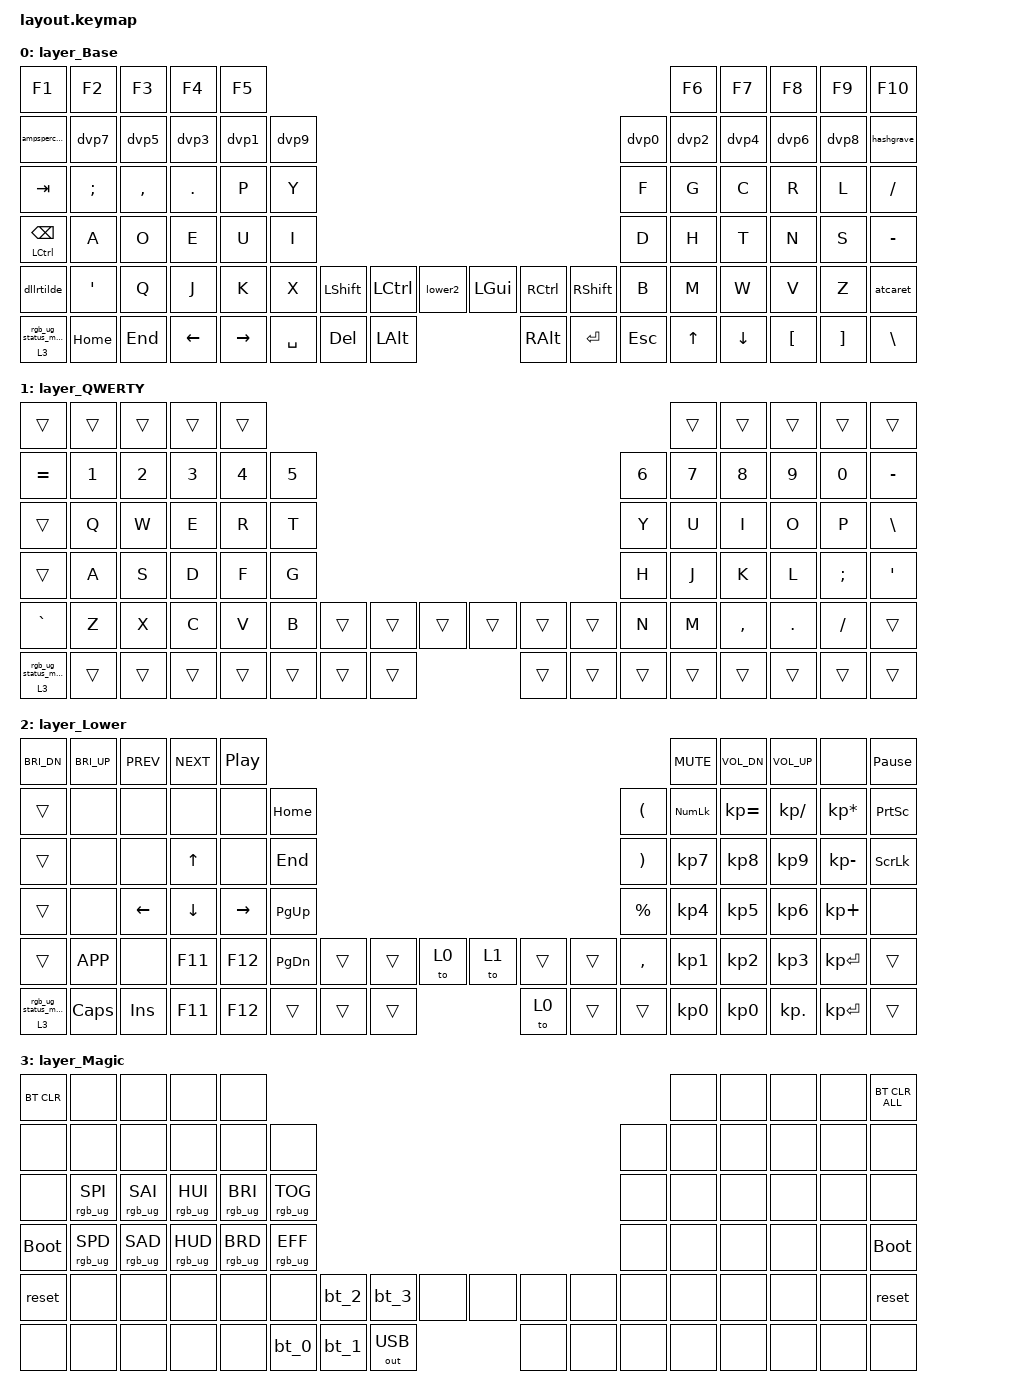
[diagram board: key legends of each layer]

/*
 * Copyright (c) 2020 The ZMK Contributors
 * Copyright (c) 2022 Innaworks Development Limited, trading as MoErgo
 *
 * SPDX-License-Identifier: MIT
 */


/* THIS FILE WAS GENERATED BY GLOVE80 LAYOUT EDITOR
 *
 * This file was generated automatically. You may or may not want to
 * edit it directly.
 */

#include <behaviors.dtsi>
/* Include all behaviour includes needed by system behaviors/macros */
#include <dt-bindings/zmk/outputs.h>

/* Include behaviour includes needed by key binds - automatically generated */
#include <dt-bindings/zmk/keys.h>
#include <dt-bindings/zmk/bt.h>
#include <dt-bindings/zmk/rgb.h>
#include <dt-bindings/zmk/outputs.h>


/ {
    /* Glove80 system behavior & macros */
    behaviors {
        // For the "layer" key, it'd nice to be able to use it as either a shift or a toggle.
        // Configure it as a tap dance, so the first tap (or hold) is a &mo and the second tap is a &to
        lower: tap_dance_0 {
            compatible = "zmk,behavior-tap-dance";
            label = "LAYER_TAP_DANCE";
            #binding-cells = <0>;
            tapping-term-ms = <200>;
            bindings = <&mo 1>, <&to 1>;
        };
    };
};

/ {
    macros {
        rgb_ug_status_macro: rgb_ug_status_macro_0 {
            label = "RGB_UG_STATUS";
            compatible = "zmk,behavior-macro";
            #binding-cells = <0>;
            bindings
                = <&rgb_ug RGB_STATUS>;
        };

        bt_0: bt_profile_macro_0 {
            label = "BT_0";
            compatible = "zmk,behavior-macro";
            #binding-cells = <0>;
            bindings
                = <&out OUT_BLE>,
                  <&bt BT_SEL 0>;
        };

        bt_1: bt_profile_macro_1 {
            label = "BT_1";
            compatible = "zmk,behavior-macro";
            #binding-cells = <0>;
            bindings
                = <&out OUT_BLE>,
                  <&bt BT_SEL 1>;
        };

        bt_2: bt_profile_macro_2 {
            label = "BT_2";
            compatible = "zmk,behavior-macro";
            #binding-cells = <0>;
            bindings
                = <&out OUT_BLE>,
                  <&bt BT_SEL 2>;
        };

        bt_3: bt_profile_macro_3 {
            label = "BT_3";
            compatible = "zmk,behavior-macro";
            #binding-cells = <0>;
            bindings
                = <&out OUT_BLE>,
                  <&bt BT_SEL 3>;
        };
    };
};

/ {
    magic: magic_hold_tap {
        compatible = "zmk,behavior-hold-tap";
        label = "MAGIC_HOLD_TAP";
        #binding-cells = <2>;
        flavor = "tap-preferred";
        tapping-term-ms = <200>;
        bindings = <&mo>, <&rgb_ug_status_macro>;
    };
};

    /* Custom Defined Behaviors */
/ {
    behaviors {
    // lower as 2nd layer
    lower2: tap_dance_1 {
        compatible = "zmk,behavior-tap-dance";
        label = "LAYER_TAP_DANCE";
        #binding-cells = <0>;
        tapping-term-ms = <200>;
        bindings = <&mo 2>, <&to 2>;
    };

    hashgrave: dvp_hash_grave {
        compatible = "zmk,behavior-mod-morph";
        label = "DVP_HASH_GRAVE";
        #binding-cells = <0>;
        bindings = <&kp HASH>, <&kp GRAVE>;
        mods = <(MOD_LGUI|MOD_LSFT|MOD_RGUI|MOD_RSFT)>;
    };

    atcaret: dvp_at_caret {
        compatible = "zmk,behavior-mod-morph";
        label = "DVP_AT_CARET";
        #binding-cells = <0>;
        bindings = <&kp AT>, <&kp CARET>;
        mods = <(MOD_LGUI|MOD_LSFT|MOD_RGUI|MOD_RSFT)>;
    };

    ampspercent: dvp_ampersand_percent {
        compatible = "zmk,behavior-mod-morph";
        label = "DVP_AMPERSAND_PERCENT";
        #binding-cells = <0>;
        bindings = <&kp AMPS>, <&kp PERCENT>;
        mods = <(MOD_LGUI|MOD_LSFT|MOD_RGUI|MOD_RSFT)>;
    };

    dllrtilde: dvp_dollar_tilde {
        compatible = "zmk,behavior-mod-morph";
        label = "DVP_DOLLAR_TILDE";
        #binding-cells = <0>;
        bindings = <&kp DLLR>, <&kp TILDE>;
        mods = <(MOD_LGUI|MOD_LSFT|MOD_RGUI|MOD_RSFT)>;
    };

    dvp7: dvp_lbkt_n7 {
        compatible = "zmk,behavior-mod-morph";
        label = "DVP_LBKT_N7";
        #binding-cells = <0>;
        bindings = <&kp LBKT>, <&kp N7>;
        mods = <(MOD_LGUI|MOD_LSFT|MOD_RGUI|MOD_RSFT)>;
    };

    dvp5: dvp_lbrc_n5 {
        compatible = "zmk,behavior-mod-morph";
        label = "DVP_LBRC_N5";
        #binding-cells = <0>;
        bindings = <&kp LBRC>, <&kp N5>;
        mods = <(MOD_LGUI|MOD_LSFT|MOD_RGUI|MOD_RSFT)>;
    };

    dvp3: dvp_rbrc_n3 {
        compatible = "zmk,behavior-mod-morph";
        label = "DVP_RBRC_N3";
        #binding-cells = <0>;
        bindings = <&kp RBRC>, <&kp N3>;
        mods = <(MOD_LGUI|MOD_LSFT|MOD_RGUI|MOD_RSFT)>;
    };

    dvp1: dvp_lpar_n1 {
        compatible = "zmk,behavior-mod-morph";
        label = "DVP_LPAR_N1";
        #binding-cells = <0>;
        bindings = <&kp LPAR>, <&kp N1>;
        mods = <(MOD_LGUI|MOD_LSFT|MOD_RGUI|MOD_RSFT)>;
    };

    dvp9: dvp_equal_n9 {
        compatible = "zmk,behavior-mod-morph";
        label = "DVP_EQUAL_N9";
        #binding-cells = <0>;
        bindings = <&kp EQUAL>, <&kp N9>;
        mods = <(MOD_LGUI|MOD_LSFT|MOD_RGUI|MOD_RSFT)>;
    };

    dvp0: dvp_star_n0 {
        compatible = "zmk,behavior-mod-morph";
        label = "DVP_STAR_N0";
        #binding-cells = <0>;
        bindings = <&kp STAR>, <&kp N0>;
        mods = <(MOD_LGUI|MOD_LSFT|MOD_RGUI|MOD_RSFT)>;
    };

    dvp2: dvp_rpar_n2 {
        compatible = "zmk,behavior-mod-morph";
        label = "DVP_RPAR_N2";
        #binding-cells = <0>;
        bindings = <&kp RPAR>, <&kp N2>;
        mods = <(MOD_LGUI|MOD_LSFT|MOD_RGUI|MOD_RSFT)>;
    };

    dvp4: dvp_plus_n4 {
        compatible = "zmk,behavior-mod-morph";
        label = "DVP_PLUS_N4";
        #binding-cells = <0>;
        bindings = <&kp PLUS>, <&kp N4>;
        mods = <(MOD_LGUI|MOD_LSFT|MOD_RGUI|MOD_RSFT)>;
    };

    dvp6: dvp_rbkt_n6 {
        compatible = "zmk,behavior-mod-morph";
        label = "DVP_RBKT_N6";
        #binding-cells = <0>;
        bindings = <&kp RBKT>, <&kp N6>;
        mods = <(MOD_LGUI|MOD_LSFT|MOD_RGUI|MOD_RSFT)>;
    };

    dvp8: dvp_excl_n8 {
        compatible = "zmk,behavior-mod-morph";
        label = "DVP_EXCL_N8";
        #binding-cells = <0>;
        bindings = <&kp EXCL>, <&kp N8>;
        mods = <(MOD_LGUI|MOD_LSFT|MOD_RGUI|MOD_RSFT)>;
    };
};

};

    /* Automatically generated keymap */
/ {
    keymap {
        compatible = "zmk,keymap";


        layer_Base {
            bindings = <
         &kp F1    &kp F2     &kp F3    &kp F4     &kp F5                                                                                  &kp F6    &kp F7    &kp F8    &kp F9     &kp F10
   &ampspercent     &dvp7      &dvp5     &dvp3      &dvp1   &dvp9                                                                   &dvp0   &dvp2     &dvp4     &dvp6     &dvp8  &hashgrave
        &kp TAB  &kp SEMI  &kp COMMA   &kp DOT      &kp P   &kp Y                                                                   &kp F   &kp G     &kp C     &kp R     &kp L   &kp SLASH
 &mt LCTRL BSPC     &kp A      &kp O     &kp E      &kp U   &kp I                                                                   &kp D   &kp H     &kp T     &kp N     &kp S   &kp MINUS
     &dllrtilde   &kp SQT      &kp Q     &kp J      &kp K   &kp X  &kp LSHFT  &kp LCTRL   &lower2  &kp LGUI  &kp RCTRL  &kp RSHFT   &kp B   &kp M     &kp W     &kp V     &kp Z    &atcaret
     &magic 3 0  &kp HOME    &kp END  &kp LEFT  &kp RIGHT          &kp SPACE    &kp DEL  &kp LALT  &kp RALT    &kp RET    &kp ESC          &kp UP  &kp DOWN  &kp LBKT  &kp RBKT    &kp BSLH
            >;
        };

        layer_QWERTY {
            bindings = <
     &trans  &trans  &trans  &trans  &trans                                                                  &trans     &trans   &trans    &trans     &trans
  &kp EQUAL  &kp N1  &kp N2  &kp N3  &kp N4  &kp N5                                                  &kp N6  &kp N7     &kp N8   &kp N9    &kp N0  &kp MINUS
     &trans   &kp Q   &kp W   &kp E   &kp R   &kp T                                                   &kp Y   &kp U      &kp I    &kp O     &kp P   &kp BSLH
     &trans   &kp A   &kp S   &kp D   &kp F   &kp G                                                   &kp H   &kp J      &kp K    &kp L  &kp SEMI    &kp SQT
  &kp GRAVE   &kp Z   &kp X   &kp C   &kp V   &kp B  &trans  &trans  &trans  &trans  &trans  &trans   &kp N   &kp M  &kp COMMA  &kp DOT  &kp FSLH     &trans
 &magic 3 0  &trans  &trans  &trans  &trans          &trans  &trans  &trans  &trans  &trans  &trans          &trans     &trans   &trans    &trans     &trans
            >;
        };

        layer_Lower {
            bindings = <
 &kp C_BRI_DN  &kp C_BRI_UP  &kp C_PREV  &kp C_NEXT   &kp C_PP                                                                        &kp C_MUTE  &kp C_VOL_DN  &kp C_VOL_UP            &none  &kp PAUSE_BREAK
       &trans         &none       &none       &none      &none   &kp HOME                                                   &kp LPAR  &kp KP_NUM  &kp KP_EQUAL  &kp KP_SLASH  &kp KP_MULTIPLY        &kp PSCRN
       &trans         &none       &none      &kp UP      &none    &kp END                                                   &kp RPAR   &kp KP_N7     &kp KP_N8     &kp KP_N9     &kp KP_MINUS         &kp SLCK
       &trans         &none    &kp LEFT    &kp DOWN  &kp RIGHT  &kp PG_UP                                                  &kp PRCNT   &kp KP_N4     &kp KP_N5     &kp KP_N6      &kp KP_PLUS            &none
       &trans     &kp K_APP       &none     &kp F11    &kp F12  &kp PG_DN  &trans  &trans   &to 0   &to 1  &trans  &trans  &kp COMMA   &kp KP_N1     &kp KP_N2     &kp KP_N3     &kp KP_ENTER           &trans
   &magic 3 0      &kp CAPS     &kp INS     &kp F11    &kp F12             &trans  &trans  &trans   &to 0  &trans  &trans              &kp KP_N0     &kp KP_N0    &kp KP_DOT     &kp KP_ENTER           &trans
            >;
        };

        layer_Magic {
            bindings = <
  &bt BT_CLR            &none            &none            &none            &none                                                                                  &none   &none   &none   &none  &bt BT_CLR_ALL
       &none            &none            &none            &none            &none            &none                                                         &none   &none   &none   &none   &none           &none
       &none  &rgb_ug RGB_SPI  &rgb_ug RGB_SAI  &rgb_ug RGB_HUI  &rgb_ug RGB_BRI  &rgb_ug RGB_TOG                                                         &none   &none   &none   &none   &none           &none
 &bootloader  &rgb_ug RGB_SPD  &rgb_ug RGB_SAD  &rgb_ug RGB_HUD  &rgb_ug RGB_BRD  &rgb_ug RGB_EFF                                                         &none   &none   &none   &none   &none     &bootloader
      &reset            &none            &none            &none            &none            &none   &bt_2   &bt_3         &none   &none   &none   &none   &none   &none   &none   &none   &none          &reset
       &none            &none            &none            &none            &none                    &bt_0   &bt_1  &out OUT_USB   &none   &none   &none           &none   &none   &none   &none           &none
            >;
        };

    };
};
